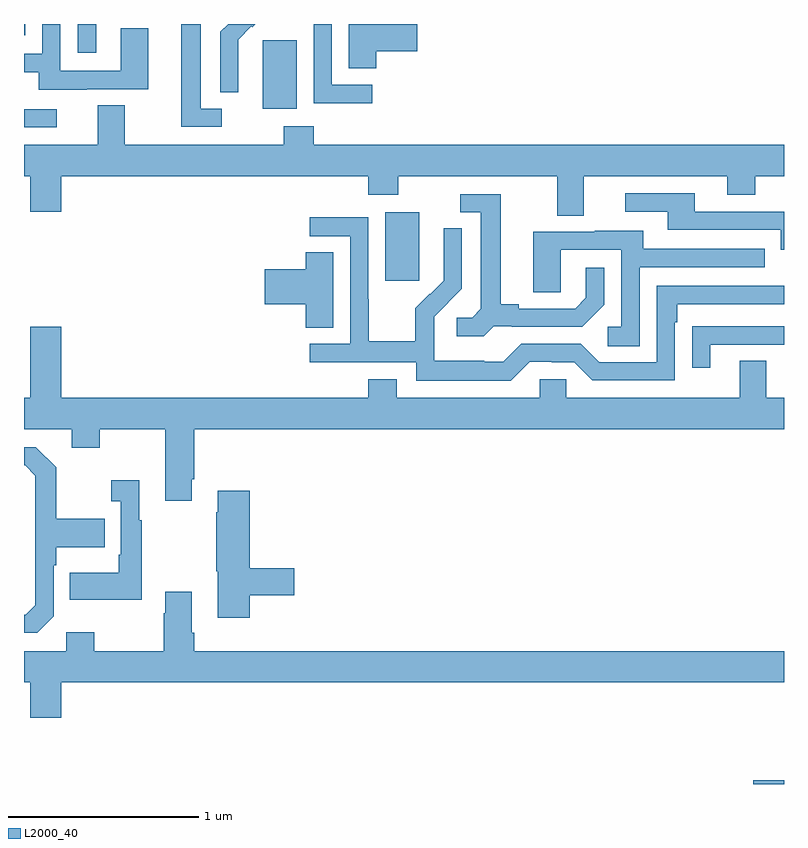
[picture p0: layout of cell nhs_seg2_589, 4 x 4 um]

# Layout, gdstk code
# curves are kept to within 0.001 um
import gdstk
lib = gdstk.Library(unit=1e-6, precision=1e-09)
def R(c, l, rs):  # rectangles x0, y0, x1, y1
    for r in rs: c.add(gdstk.rectangle(r[:2], r[2:], *l))
def P(c, l, *ps):  # polygons
    for p in ps: c.add(gdstk.Polygon(p, *l))
L2000_40 = (2000, 40)

nhs_seg2_589 = lib.new_cell('nhs_seg2_589')
R(nhs_seg2_589, L2000_40, [(144.839,613.8,145,613.82), (142.901,616.449,143.08,616.81), (141,617.256,141.172,617.352), (142.256,617.354,142.435,617.715), (141.282,617.649,141.379,617.8), (141,617.742,141.006,617.8)])
P(nhs_seg2_589, L2000_40, [(142.042,617.355),(141.931,617.355),(141.931,617.8),(141.827,617.8),(141.827,617.259),(142.042,617.259)],
  [(141.331,617.457),(141.655,617.457),(141.655,617.777),(141.51,617.777),(141.51,617.553),(141.192,617.553),(141.192,617.8),(141.096,617.8),(141.096,617.643),(141,617.643),(141,617.547),(141.077,617.547),(141.077,617.453),(141.331,617.453)],
  [(142.853,617.657),(143.071,617.657),(143.071,617.8),(142.709,617.8),(142.709,617.566),(142.853,617.566)],
  [(142.128,617.594),(142.127,617.594),(142.127,617.717),(142.197,617.787),(142.2,617.784),(142.216,617.8),(142.074,617.8),(142.032,617.758),(142.032,617.44),(142.128,617.44)],
  [(142.834,617.481),(142.62,617.481),(142.62,617.8),(142.524,617.8),(142.524,617.383),(142.834,617.383)],
  [(143.947,617),(144.701,617),(144.701,616.901),(144.849,616.901),(144.849,617),(145,617),(145,617.164),(142.526,617.164),(142.526,617.263),(142.366,617.263),(142.366,617.164),(141.529,617.164),(141.529,617.372),(141.389,617.372),(141.389,617.164),(141,617.164),(141,617),(141.032,617),(141.032,616.812),(141.196,616.812),(141.196,617),(142.811,617),(142.811,616.901),(142.971,616.901),(142.971,617),(143.807,617),(143.807,616.792),(143.947,616.792)],
  [(145,616.812),(144.529,616.812),(144.529,616.908),(144.165,616.908),(144.165,616.812),(144.389,616.812),(144.389,616.716),(144.984,616.716),(144.984,616.613),(145,616.613)],
  [(143.472,616.209),(143.566,616.209),(143.566,616.206),(143.938,616.206),(144.054,616.322),(144.054,616.516),(143.957,616.516),(143.957,616.359),(143.9,616.302),(143.605,616.302),(143.605,616.325),(143.509,616.325),(143.509,616.905),(143.295,616.905),(143.295,616.809),(143.405,616.809),(143.405,616.301),(143.358,616.254),(143.277,616.254),(143.277,616.157),(143.42,616.157)],
  [(143.661,616.023),(143.777,616.023),(143.777,616.02),(143.895,616.02),(143.991,615.924),(144.426,615.924),(144.426,616.229),(144.439,616.229),(144.439,616.326),(145,616.326),(145,616.422),(144.33,616.422),(144.33,616.02),(144.027,616.02),(143.931,616.116),(143.616,616.116),(143.523,616.023),(143.423,616.023),(143.423,616.027),(143.16,616.027),(143.16,616.161),(143.158,616.161),(143.158,616.258),(143.304,616.406),(143.304,616.724),(143.208,616.724),(143.208,616.57),(143.21,616.57),(143.21,616.448),(143.139,616.377),(143.136,616.38),(143.059,616.303),(143.059,616.129),(142.815,616.129),(142.815,616.352),(142.812,616.352),(142.812,616.782),(142.503,616.782),(142.503,616.683),(142.716,616.683),(142.716,616.116),(142.503,616.116),(142.503,616.02),(143.064,616.02),(143.064,615.923),(143.561,615.923)],
  [(144.24,616.521),(144.899,616.521),(144.899,616.617),(144.259,616.617),(144.259,616.711),(144.005,616.711),(144.005,616.707),(143.681,616.707),(143.681,616.387),(143.826,616.387),(143.826,616.611),(144.144,616.611),(144.144,616.206),(144.072,616.206),(144.072,616.105),(144.24,616.105)],
  [(142.627,616.598),(142.484,616.598),(142.484,616.508),(142.266,616.508),(142.266,616.325),(142.484,616.325),(142.484,616.201),(142.627,616.201)],
  [(144.613,616.113),(145,616.113),(145,616.209),(144.619,616.209),(144.619,616.208),(144.517,616.208),(144.517,615.99),(144.613,615.99)],
  [(141.883,615.403),(141.896,615.403),(141.896,615.668),(145,615.668),(145,615.832),(144.907,615.832),(144.907,616.027),(144.767,616.027),(144.767,615.832),(143.853,615.832),(143.853,615.93),(143.715,615.93),(143.715,615.832),(142.963,615.832),(142.963,615.931),(142.811,615.931),(142.811,615.832),(141.196,615.832),(141.196,616.207),(141.032,616.207),(141.032,615.832),(141,615.832),(141,615.668),(141.251,615.668),(141.251,615.569),(141.399,615.569),(141.399,615.668),(141.743,615.668),(141.743,615.291),(141.883,615.291)],
  [(141.156,614.682),(141.156,614.951),(141.169,614.951),(141.169,615.047),(141.425,615.047),(141.425,615.195),(141.169,615.195),(141.169,615.467),(141.063,615.573),(141,615.573),(141,615.477),(141.006,615.477),(141.06,615.423),(141.06,614.742),(141.009,614.691),(141,614.691),(141,614.595),(141.069,614.595)],
  [(141.619,615.187),(141.607,615.187),(141.607,615.4),(141.459,615.4),(141.459,615.287),(141.51,615.287),(141.51,615.007),(141.498,615.007),(141.498,614.911),(141.241,614.911),(141.241,614.771),(141.619,614.771)],
  [(142.187,614.794),(142.423,614.794),(142.423,614.936),(142.187,614.936),(142.187,615.343),(142.019,615.343),(142.019,615.23),(142.012,615.23),(142.012,614.919),(142.019,614.919),(142.019,614.676),(142.187,614.676)],
  [(141.196,614.336),(145,614.336),(145,614.5),(141.896,614.5),(141.896,614.596),(141.883,614.596),(141.883,614.812),(141.743,614.812),(141.743,614.699),(141.736,614.699),(141.736,614.5),(141.369,614.5),(141.369,614.599),(141.222,614.599),(141.222,614.5),(141,614.5),(141,614.336),(141.032,614.336),(141.032,614.148),(141.196,614.148)])

lib.write_gds('nhs_seg2_589.gds')
